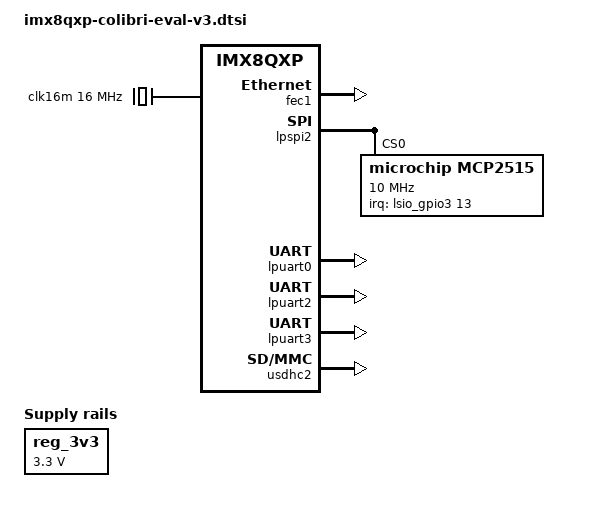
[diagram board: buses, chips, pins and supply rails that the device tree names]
// SPDX-License-Identifier: GPL-2.0+ OR X11
/*
 * Copyright 2018-2020 Toradex
 */

/ {
	/* fixed crystal dedicated to mcp25xx */
	clk16m: clock-16mhz-fixed {
		compatible = "fixed-clock";
		#clock-cells = <0>;
		clock-frequency = <16000000>;
	};

	panel_dpi: panel-dpi {
		/*
		 * edt,et057090dhu: EDT 5.7" LCD TFT
		 * edt,et070080dh6: EDT 7.0" LCD TFT
		 * logictechno,lt161010-2nhc: Cap. Touch Display 7" Parallel
		 * logictechno,lt161010-2nhr: Res. Touch Display 7" Paralle
		 * logictechno,lt170410-2whc: Cap. Touch Display 10.1" LVDS
		 * tpk,f07a-0102: Capacitive Multi-Touch Display Fusion 7"
		 * tpk,f10a-0102: Capacitive Multi-Touch Display Fusion 10"
		 */
		compatible = "panel-dpi";
		backlight = <&backlight>;
		power-supply = <&reg_3v3>;

		width-mm = <217>;
		height-mm = <136>;

		data-mapping = "bgr666";
		status = "disabled";

		panel-timing {
			/* Default VESA VGA display timings */
			clock-frequency = <25175000>;
			hactive = <640>;
			hback-porch = <48>;
			hfront-porch = <16>;
			hsync-len = <96>;
			vactive = <480>;
			vback-porch = <31>;
			vfront-porch = <11>;
			vsync-len = <2>;
			pixelclk-active = <0>;
		};
	};

	reg_3v3: regulator-3v3 {
		compatible = "regulator-fixed";
		regulator-name = "3.3V";
		regulator-min-microvolt = <3300000>;
		regulator-max-microvolt = <3300000>;
	};
};

/* Colibri Ethernet */
&fec1 {
	status = "okay";
};

/* Colibri SPI */
&lpspi2 {
        status = "okay";

        mcp2515: can@0 {
                compatible = "microchip,mcp2515";
                pinctrl-names = "default";
                pinctrl-0 = <&pinctrl_can_int>;
                reg = <0>;
                clocks = <&clk16m>;
                interrupt-parent = <&lsio_gpio3>;
                interrupts = <13 IRQ_TYPE_EDGE_FALLING>;
                spi-max-frequency = <10000000>;
                status = "okay";
        };

        spidev0: spidev@0 {
                compatible = "toradex,evalspi";
                reg = <0>;
                spi-max-frequency = <10000000>;
                status = "disabled";
        };
};

/* Colibri UART_B */
&lpuart0 {
	status = "okay";
};

/* Colibri UART_C */
&lpuart2 {
	status = "okay";
};

/* Colibri UART_A */
&lpuart3 {
	status= "okay";
};

/* Colibri SDCard */
&usdhc2 {
	status = "okay";
};
